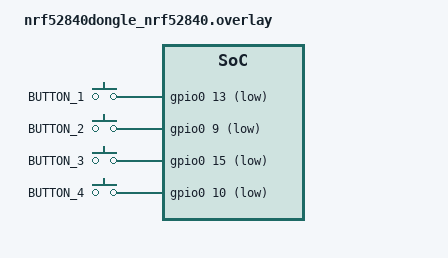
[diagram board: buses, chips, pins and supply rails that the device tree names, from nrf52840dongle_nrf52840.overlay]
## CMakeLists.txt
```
cmake_minimum_required(VERSION 3.20.0)
find_package(Zephyr REQUIRED HINTS $ENV{ZEPHYR_BASE})

project(NRF52_BLE_Mouse)

FILE(GLOB app_sources src/*.c)
target_sources(app PRIVATE ${app_sources})
```

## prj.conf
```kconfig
CONFIG_BT=y
CONFIG_BT_PERIPHERAL=y
CONFIG_BT_MAX_PAIRED=1
CONFIG_BT_DEVICE_NAME="Avinashee_Tech"

CONFIG_BT_KEYS_OVERWRITE_OLDEST=y
CONFIG_BT_SMP=y
CONFIG_BT_SETTINGS=y
CONFIG_BT_BONDABLE=y
CONFIG_BT_SETTINGS_CCC_STORE_ON_WRITE=y
CONFIG_BT_SETTINGS_CCC_LAZY_LOADING=n

CONFIG_BT_LIM_ADV_TIMEOUT=180

CONFIG_BT_BAS=y
CONFIG_BT_DIS=y
CONFIG_BT_DIS_PNP=n
CONFIG_BT_DIS_MODEL="Jerry v1.0"
CONFIG_BT_DIS_MANUF="Avinashee Tech"
CONFIG_BT_DIS_SERIAL_NUMBER=y
CONFIG_BT_DIS_SERIAL_NUMBER_STR="0xAABBCCDD"

CONFIG_BT_DEVICE_APPEARANCE=962 
CONFIG_BT_PERIPHERAL_PREF_MIN_INT=6    
CONFIG_BT_PERIPHERAL_PREF_MAX_INT=18    
CONFIG_BT_PERIPHERAL_PREF_LATENCY=10   
CONFIG_BT_PERIPHERAL_PREF_TIMEOUT=200
CONFIG_BT_GAP_AUTO_UPDATE_CONN_PARAMS=y
```

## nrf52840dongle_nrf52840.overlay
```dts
// To get started, press Ctrl+Space to bring up the completion menu and view the available nodes.

// You can also use the buttons in the sidebar to perform actions on nodes.
// Actions currently available include:

// * Enabling / disabling the node
// * Adding the bus to a bus
// * Removing the node
// * Connecting ADC channels

// For more help, browse the DeviceTree documentation at https://docs.zephyrproject.org/latest/guides/dts/index.html
// You can also visit the nRF DeviceTree extension documentation at https://docs.nordicsemi.com/bundle/nrf-connect-vscode/page/guides/ncs_configure_app.html#devicetree-support-in-the-extension

/* Define four GPIO input pins */
/{
    ButtonSignals
      {
         compatible = "gpio-keys";
          input_signal1: input_signal1
          {
            /*Button input 1 at pin 0.13*/
             gpios = <&gpio0 13 (GPIO_PULL_UP | GPIO_ACTIVE_LOW)>;
             label = "BUTTON_1";
          };
          input_signal2: input_signal2
          {
            /*Button input 2 at pin 0.09*/
             gpios = <&gpio0 9 (GPIO_PULL_UP | GPIO_ACTIVE_LOW)>;
             label = "BUTTON_2";
          };
          input_signal3: input_signal3
          {
            /*Button input 3 at pin 0.15*/
             gpios = <&gpio0 15 (GPIO_PULL_UP | GPIO_ACTIVE_LOW)>;
             label = "BUTTON_3";
          };
          input_signal4: input_signal4
          {
            /*Button input 4 at pin 0.10*/
             gpios = <&gpio0 10 (GPIO_PULL_UP | GPIO_ACTIVE_LOW)>;
             label = "BUTTON_4";
          };
      };
};
```

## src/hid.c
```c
#include "hid.h"


extern struct bt_conn *my_connection; //bluetooth connection reference struct

/********************
 * HID Information  *
*********************/ 

// HID Info flags 
enum
{
    REMOTE_WAKE            = BIT(0),
    NORMALLY_CONNECTABLE   = BIT(1),
};

/* 
 * HID Info structure
 * NOTE: pack your structures to avoid byte padding and save power and 
 * transmission time over BLE
 */
typedef struct{
    uint16_t hid_version;
    uint8_t country_code;
    uint8_t flags;
}__attribute__((__packed__)) _hids_info_t_;

const _hids_info_t_ hids_info = {
    .hid_version = 0x0101,
    .country_code = 0x00,
    .flags = NORMALLY_CONNECTABLE,
};

// HID Info callback
ssize_t readinfo_cb(struct bt_conn *conn,const struct bt_gatt_attr *attr,void *buf, uint16_t len,uint16_t offset){
    return bt_gatt_attr_read(conn,attr,buf,len,offset,&hids_info,sizeof(_hids_info_t_));
}

/********************
 * HID Report Map  *
*********************/ 

// HID Report map
const uint8_t report_map[] =
{
    /* MOUSE INPUT REPORT MAP */
    0x05, 0x01,                 // Usage Page (Generic Desktop Ctrls)
    0x09, 0x02,                 // Usage (Mouse)
    0xA1, 0x01,                 // Collection (Application)
    0x85, 0x01,                 //   Report ID (1)
    0x09, 0x01,                 //   Usage (Pointer)
    0xA1, 0x00,                 //   Collection (Physical)
    0x95, 0x02,                 //     Report Count (2)
    0x75, 0x01,                 //     Report Size (1)
    0x15, 0x00,                 //     Logical Minimum (0)
    0x25, 0x01,                 //     Logical Maximum (1)
    0x05, 0x09,                 //     Usage Page (Button)
    0x19, 0x01,                 //     Usage Minimum (0x01)
    0x29, 0x02,                 //     Usage Maximum (0x02)
    0x81, 0x02,                 //     Input (Data,Var,Abs,No Wrap,Linear,Preferred State,No Null Position)
    0x95, 0x01,                 //     Report Count (1)
    0x75, 0x06,                 //     Report Size (6)
    0x81, 0x03,                 //     Input (Cnst, Var, Abs)
    0x05, 0x01,                 //     Usage Page (Generic Desktop Ctrls)
    0x16, 0x00, 0x80,           //     Logical Minimum (-32768)
    0x26, 0xFF, 0x7F,           //     Logical Maximum (32767)
    0x75, 0x10,                 //     Report Size (16)
    0x95, 0x02,                 //     Report Count (2)
    0x09, 0x30,                 //     Usage (X)
    0x09, 0x31,                 //     Usage (Y)
    0x81, 0x06,                 //     Input (Data,Var,Rel,No Wrap,Linear,Preferred State,No Null Position)
    0x15, 0x81,                 //     Logical Minimum (-127)
    0x25, 0x7F,                 //     Logical Maximum (127)
    0x75, 0x08,                 //     Report Size (8)
    0x95, 0x01,                 //     Report Count (1)
    0x09, 0x38,                 //     Usage (Wheel)
    0x81, 0x06,                 //     Input (Data,Var,Rel,No Wrap,Linear,Preferred State,No Null Position)
    0xC0,                       //   End Collection
    0xC0,                       // End Collection
};

//HID Report Map callback
ssize_t readreportmap_cb(struct bt_conn *conn,const struct bt_gatt_attr *attr,void *buf, uint16_t len,uint16_t offset){
    return bt_gatt_attr_read(conn,attr,buf,len,offset,report_map,sizeof(report_map));
}

/*********************
 * HID Control Point *
**********************/ 

//HID Control Point Device States
enum{
    SUSPEND = 0x00,
    EXIT_SUSPEND = 0x01,
};

typedef uint8_t hid_ctrl_point;

//HID Control Point callback
ssize_t writectrl_cb(struct bt_conn *conn,const struct bt_gatt_attr *attr,const void *buf, uint16_t len,uint16_t offset, uint8_t flags){
    
    uint8_t ctrl_point_value = *((uint8_t*)buf);
    hid_ctrl_point ctrl_point;
    uint8_t* ctrl_point_buf = (uint8_t*)&ctrl_point;

    //check flags
    if(flags!=BT_GATT_WRITE_FLAG_CMD){
        /* Only write without response accepted */
        return BT_GATT_ERR(BT_ATT_ERR_WRITE_REQ_REJECTED);
    }

    //check length
    if((offset+len)>sizeof(hid_ctrl_point)){
        /* Make sure client writes with correct offset */
        return BT_GATT_ERR(BT_ATT_ERR_INVALID_OFFSET);
    }

    //check value
    if((ctrl_point_value!=SUSPEND) | (ctrl_point_value!=EXIT_SUSPEND)){
        return BT_GATT_ERR(BT_ATT_ERR_NOT_SUPPORTED);
    }

    memcpy(ctrl_point_buf+offset, buf, len);

    return len;

}



/*********************
 * HID Input Report  *
**********************/ 

bool input_rep_notif_enabled;

#define REPORT_MOUSE_SIZE sizeof(hids_report_mouse_t)
uint8_t input_report[REPORT_MOUSE_SIZE];

//HID Report Info structure
typedef struct
{
    uint8_t* const report_ref;
    uint8_t report_len;

} hids_report_info_t;

const hids_report_info_t input_rep_info =
{
    .report_ref = input_report,
    .report_len = sizeof(input_report),
};

// HID Report Characteristic Descriptor 
typedef struct
{
    uint8_t id;                 //report id 
    uint8_t type;               //report type
} __packed hids_report_desc_t;

// Report descriptors
const uint8_t HIDS_REPORT_ID_MOUSE          =  0x01;

// Report direction
enum{
    HIDS_REPORT_INPUT   = 0x01,
    HIDS_REPORT_OUTPUT  = 0x02,
    HIDS_REPORT_FEATURE = 0x03,
};

//descriptor
const hids_report_desc_t input_desc =
{
    .id = HIDS_REPORT_ID_MOUSE,
    .type = HIDS_REPORT_INPUT,
};

/*
 * HID Regular Report read callback
*/
ssize_t readreport_cb(struct bt_conn *conn,const struct bt_gatt_attr *attr,void *buf, uint16_t len,uint16_t offset){
    const hids_report_info_t* hids_report = (const hids_report_info_t*)attr->user_data;
    return bt_gatt_attr_read(conn,attr,buf,len,offset,hids_report->report_ref,hids_report->report_len);
}

/*
 * CCCD callback function for regular report mode
*/
void input_rep_changed(const struct bt_gatt_attr *attr, uint16_t value){
    ARG_UNUSED(attr);
    switch(value)
    {
        case BT_GATT_CCC_NOTIFY: 
            // Start sending stuff! No ACK
			input_rep_notif_enabled = 1;  //notify data send start
            break;

        case 0: 
            // Stop sending stuff
			input_rep_notif_enabled = 0;  //notify data send stop
            break;
        
        default: 
            //Error, CCCD set to an invalid value    
    } 
}

/*
 * regular report description read callback
*/
ssize_t read_reportdesc_cb(struct bt_conn *conn,const struct bt_gatt_attr *attr,void *buf, uint16_t len,uint16_t offset){
    return bt_gatt_attr_read(conn,attr,buf,len,offset,attr->user_data,sizeof(hids_report_desc_t));
}

/*********************
 * HID Protocol Mode *
**********************/

uint8_t prot_mode;

//HID Protocol modes
enum{
    BOOT_MODE   = 0x00,
    REPORT_MODE = 0x01,
};

/* 
 * HID Protocol read callback
*/
ssize_t readprot_cb(struct bt_conn *conn,const struct bt_gatt_attr *attr,void *buf, uint16_t len,uint16_t offset){
    return bt_gatt_attr_read(conn, attr, buf, len, offset, &prot_mode, sizeof(prot_mode));
}

/*
 * HID Protocol write callback
*/
ssize_t writeprot_cb(struct bt_conn *conn,const struct bt_gatt_attr *attr,const void *buf, uint16_t len,uint16_t offset, uint8_t flags){

    uint8_t prot_mode_value = *(uint8_t*)buf;
    uint8_t* prot_mode_buf = (uint8_t*)&prot_mode;

    //check flags
    if(flags!=BT_GATT_WRITE_FLAG_CMD){
        /* Only write without response accepted */
        return BT_GATT_ERR(BT_ATT_ERR_WRITE_REQ_REJECTED);
    }

    //check len
    if((offset+len)>sizeof(prot_mode)){
        /* Make sure client writes with correct offset */
        return BT_GATT_ERR(BT_ATT_ERR_INVALID_OFFSET);
    }

    //check value
    if((prot_mode_value!=BOOT_MODE) | (prot_mode_value!=REPORT_MODE)){
        return BT_GATT_ERR(BT_ATT_ERR_NOT_SUPPORTED);
    }

    memcpy(prot_mode_buf+offset, buf, len);

    return len;

}

/*******************************
 * HID Boot Mouse Input Report *
********************************/

#define BOOT_REPORT_MOUSE_SIZE sizeof(hids_report_mouse_boot_t)

uint8_t boot_input_report[BOOT_REPORT_MOUSE_SIZE];
bool boot_input_rep_notif_enabled;

//hid boot report structure init 
const hids_report_info_t boot_input_rep_info =
{
    .report_ref = boot_input_report,
    .report_len = sizeof(boot_input_report)
};

/*
 * CCCD callback function for boot report mode
*/
void boot_input_rep_changed(const struct bt_gatt_attr *attr, uint16_t value){
    ARG_UNUSED(attr);
    switch(value)
    {
        case BT_GATT_CCC_NOTIFY: 
            // Start sending stuff! No ACK
			boot_input_rep_notif_enabled = 1;  //notify data send start
            break;

        case 0: 
            // Stop sending stuff
			boot_input_rep_notif_enabled = 0;  //notify data send stop
            break;
        
        default: 
            //Error, CCCD set to an invalid value    
    } 
}

/*
 * register ble service  (GATT)
*/
BT_GATT_SERVICE_DEFINE(my_service,
    BT_GATT_PRIMARY_SERVICE(BT_UUID_HIDS),      //Service Setup
    //Characteristic setup
    //HID Information
    BT_GATT_CHARACTERISTIC(NRF52_CHAR_HIDINFO_UUID, 
                            BT_GATT_CHRC_READ,
                            BT_GATT_PERM_READ,
                            readinfo_cb, NULL, NULL),
    //HID Report Map
    BT_GATT_CHARACTERISTIC(NRF52_CHAR_HIDMAP_UUID,
                            BT_GATT_CHRC_READ,
                            BT_GATT_PERM_READ,
                            readreportmap_cb, NULL, NULL),
    //HID Control Point
    BT_GATT_CHARACTERISTIC(NRF52_CHAR_HIDCTRL_UUID,
                            BT_GATT_CHRC_WRITE_WITHOUT_RESP,
                            BT_GATT_PERM_WRITE,
                            NULL, writectrl_cb, NULL),
    //HID Input Report
    BT_GATT_CHARACTERISTIC(NRF52_CHAR_HIDREPORT_UUID,
                            BT_GATT_CHRC_READ | BT_GATT_CHRC_NOTIFY,
                            BT_GATT_PERM_READ,
                            readreport_cb, NULL,
                            (hids_report_info_t*)&input_rep_info),
    
    BT_GATT_CCC(input_rep_changed,  //Client Characteristic Configuration Descriptor - Enable/Disable of Notification
        BT_GATT_PERM_READ | BT_GATT_PERM_WRITE),
    
    BT_GATT_DESCRIPTOR(BT_UUID_HIDS_REPORT_REF,
                        BT_GATT_PERM_READ,
                        read_reportdesc_cb, NULL,
                        (hids_report_desc_t*) &input_desc),
    //HID Protocol Mode
    BT_GATT_CHARACTERISTIC(NRF52_CHAR_HIDPROT_UUID,
                            BT_GATT_CHRC_READ | BT_GATT_CHRC_WRITE_WITHOUT_RESP,
                            BT_GATT_PERM_READ | BT_GATT_PERM_WRITE,
                            readprot_cb, writeprot_cb, NULL),
    //HID Boot Mouse Input Report
    BT_GATT_CHARACTERISTIC(NRF52_CHAR_HIDBOOTREPORT_UUID,
                            BT_GATT_CHRC_READ | BT_GATT_CHRC_NOTIFY,
                            BT_GATT_PERM_READ,
                            readreport_cb, NULL,
                            (hids_report_info_t*)&boot_input_rep_info),
    
    BT_GATT_CCC(boot_input_rep_changed,  //Client Characteristic Configuration Descriptor - Enable/Disable of Notification
            BT_GATT_PERM_READ | BT_GATT_PERM_WRITE),
    
);

/*
 * updates connection reference once device connected
*/
void hids_connected(struct bt_conn *conn){
    my_connection = conn;
    prot_mode = REPORT_MODE; //Set Protocol Mode back to default (Report)
}

/*
 * updates connection reference once device disconnected
*/
void hids_disconnected(void){
    my_connection = NULL;
}

/*
 * returns current selected protocol mode by client (regular report or boot report)
*/
uint8_t hids_prot_mode(void){
    return prot_mode;
}

/*
 * checks if report is writable or not (CCCD flag enabled or not)
*/
bool hids_report_writable(void){
    if(prot_mode == BOOT_MODE)
    {
        return boot_input_rep_notif_enabled;
    }
    else
    {
        return input_rep_notif_enabled;
    }
}

/*
 *@brief : function to notify regular report data
 *@param : pointer to data structure, length of that data
 *@retval : None 
 *@note :  This function is called to notify client with updated regular report data
*/
void hids_mouse_notify_input(const void* data, uint8_t dataLen)
{
    __ASSERT_NO_MSG(input_rep_notif_enabled);  //check if notify enabled

    int err;
    struct bt_gatt_notify_params params = {0};

    memcpy(input_report, data, dataLen);

    //params update
    params.uuid = NRF52_CHAR_HIDREPORT_UUID;
    params.data = data;
    params.len = dataLen;
    params.func = NULL;

    err = bt_gatt_notify_cb(my_connection, &params);
}

/*
 *@brief : function to notify boot report data
 *@param : pointer to data structure, length of that data
 *@retval : None 
 *@note :  This function is called to notify client with updated boot report data
*/
void hids_mouse_notify_input_boot(const void* data, uint8_t dataLen){

    __ASSERT_NO_MSG(boot_input_rep_notif_enabled); //check if notify enabled

    int err;
    struct bt_gatt_notify_params params = {0};

    memcpy(boot_input_report, data, dataLen);

    //params update
    params.uuid = NRF52_CHAR_HIDBOOTREPORT_UUID;        
    params.data = data;
    params.len = dataLen;
    params.func = NULL;

    err = bt_gatt_notify_cb(my_connection, &params);
}
```

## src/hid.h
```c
#ifndef _HID_H_
#define _HID_H_

//for bluetooth
#include <zephyr/bluetooth/bluetooth.h>
#include <zephyr/bluetooth/conn.h>
#include <zephyr/bluetooth/gatt.h>
#include <zephyr/bluetooth/hci.h>
#include <zephyr/bluetooth/uuid.h>

//service and characteristics 
#define NRF52_SVC_HID_UUID         BT_UUID_HIDS_VAL                      //HID Service
#define NRF52_SVC_BAT_UUID         BT_UUID_BAS_VAL                       //Battery Status Service
#define NRF52_SVC_DEV_UUID         BT_UUID_DIS_VAL                       //Device Information Service

#define NRF52_CHAR_HIDINFO_UUID        BT_UUID_HIDS_INFO           //HID Information
#define NRF52_CHAR_HIDMAP_UUID         BT_UUID_HIDS_REPORT_MAP     //HID Report Map
#define NRF52_CHAR_HIDCTRL_UUID        BT_UUID_HIDS_CTRL_POINT     //HID Control Point
#define NRF52_CHAR_HIDREPORT_UUID      BT_UUID_HIDS_REPORT         //HID Input Report
#define NRF52_CHAR_HIDPROT_UUID        BT_UUID_HIDS_PROTOCOL_MODE  //HID Protocol Mode
#define NRF52_CHAR_HIDBOOTREPORT_UUID  BT_UUID_HIDS_BOOT_MOUSE_IN_REPORT  //HID Boot Mouse Input Report

/* 
 * HID Input Report Structure
 * 8 bits - pressed buttons bitmask (2 LSB used + 6 MSB padding)
 * 16 bits - x movement (little endian)
 * 16 bits - y movement (little endian)
 * 8 bits - vertical wheel rotation 
 * NOTE: pack your structures to avoid byte padding and save power and 
 * transmission time over BLE
 */
typedef struct
{
    uint8_t         buttons_bitmask;
    uint8_t         move_x_lsb;
    uint8_t         move_x_msb;
    uint8_t         move_y_lsb;
    uint8_t         move_y_msb;
    uint8_t         scroll_v;
} __attribute__((__packed__)) hids_report_mouse_t;


/*
 * HID Boot Report Structure
 *  8 bits - pressed buttons bitmask
 *  8 bits - x movement
 *  8 bits - y movement
 *  8 bits - vertical wheel rotation (device specific)
 * NOTE: Boot Report is fixed to 4 bytes and CANNOT be modified.
 */
typedef struct
{
    uint8_t         buttons_bitmask;
    int8_t          move_x;
    int8_t          move_y;
    int8_t          scroll_v;

} __attribute__((__packed__)) hids_report_mouse_boot_t;


/*
 * ble function declaration
*/
void input_rep_changed(const struct bt_gatt_attr *attr, uint16_t value);
void boot_input_rep_changed(const struct bt_gatt_attr *attr, uint16_t value);

ssize_t readinfo_cb(struct bt_conn *conn,const struct bt_gatt_attr *attr,void *buf, uint16_t len,uint16_t offset);
ssize_t readreportmap_cb(struct bt_conn *conn,const struct bt_gatt_attr *attr,void *buf, uint16_t len,uint16_t offset);
ssize_t readreport_cb(struct bt_conn *conn,const struct bt_gatt_attr *attr,void *buf, uint16_t len,uint16_t offset);
ssize_t read_reportdesc_cb(struct bt_conn *conn,const struct bt_gatt_attr *attr,void *buf, uint16_t len,uint16_t offset);
ssize_t readprot_cb(struct bt_conn *conn,const struct bt_gatt_attr *attr,void *buf, uint16_t len,uint16_t offset);
ssize_t readreport_cb(struct bt_conn *conn,const struct bt_gatt_attr *attr,void *buf, uint16_t len,uint16_t offset);

ssize_t writectrl_cb(struct bt_conn *conn,const struct bt_gatt_attr *attr,const void *buf, uint16_t len,uint16_t offset, uint8_t flags);
ssize_t writeprot_cb(struct bt_conn *conn,const struct bt_gatt_attr *attr,const void *buf, uint16_t len,uint16_t offset, uint8_t flags);

void hids_connected(struct bt_conn *conn);
void hids_disconnected(void);

uint8_t hids_prot_mode(void);
bool hids_report_writable(void);

void hids_mouse_notify_input(const void* data, uint8_t dataLen);
void hids_mouse_notify_input_boot(const void* data, uint8_t dataLen);

#endif
```
